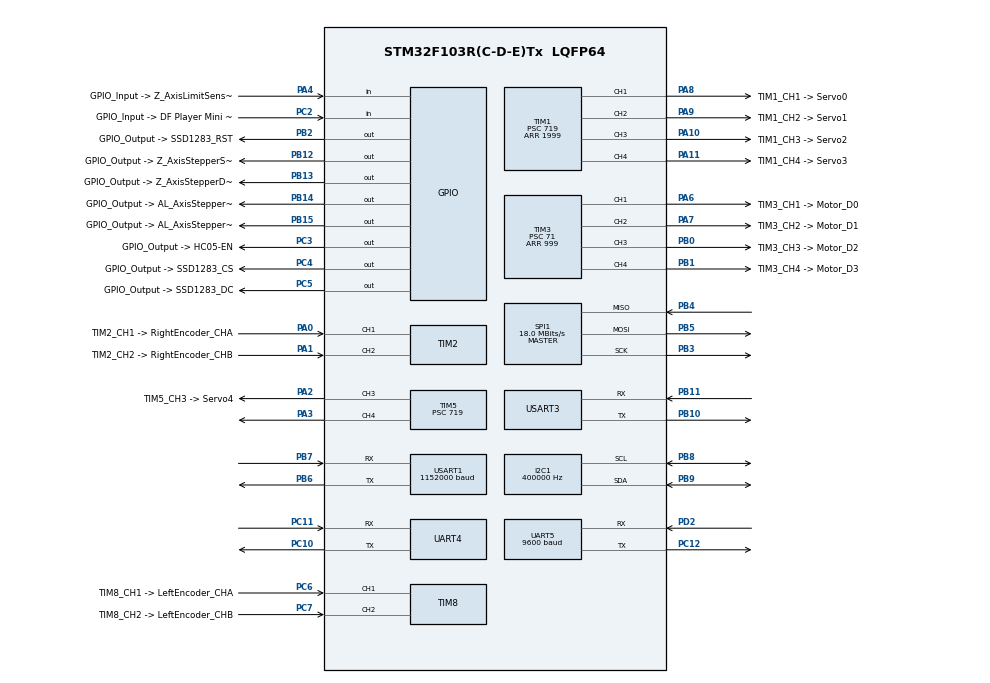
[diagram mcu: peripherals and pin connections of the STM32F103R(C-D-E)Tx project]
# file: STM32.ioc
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I2C1.ClockSpeed=400000
I2C1.I2C_Mode=I2C_Fast
I2C1.NoStretchMode=I2C_NOSTRETCH_DISABLE
Mcu.Family=STM32F1
Mcu.Name=STM32F103R(C-D-E)Tx
Mcu.Package=LQFP64
NVIC.PriorityGroup=NVIC_PRIORITYGROUP_4
NVIC.TIM4_IRQn=true\:6\:0\:true\:false\:true\:true\:true
NVIC.TIM6_IRQn=true\:4\:0\:true\:false\:true\:true\:true
NVIC.TIM7_IRQn=true\:3\:0\:true\:false\:true\:true\:true
NVIC.UART4_IRQn=true\:2\:0\:true\:false\:true\:true\:true
NVIC.USART1_IRQn=true\:1\:0\:true\:false\:true\:true\:true
NVIC.USART3_IRQn=true\:2\:0\:true\:false\:true\:true\:true
PA0-WKUP.GPIO_Label=TIM2_CH1 -> RightEncoder_CHA
PA0-WKUP.Signal=S_TIM2_CH1_ETR
PA1.GPIO_Label=TIM2_CH2 -> RightEncoder_CHB
PA1.Signal=S_TIM2_CH2
PA10.GPIO_Label=TIM1_CH3 -> Servo2
PA10.Signal=S_TIM1_CH3
PA11.GPIO_Label=TIM1_CH4 -> Servo3
PA11.Signal=S_TIM1_CH4
PA13.Mode=Serial_Wire
PA13.Signal=SYS_JTMS-SWDIO
PA14.Mode=Serial_Wire
PA14.Signal=SYS_JTCK-SWCLK
PA2.GPIO_Label=TIM5_CH3 -> Servo4
PA2.Signal=S_TIM5_CH3
PA3.Signal=S_TIM5_CH4
PA4.GPIO_Label=GPIO_Input -> Z_AxisLimitSensor
PA4.GPIO_PuPd=GPIO_PULLUP
PA4.Signal=GPIO_Input
PA6.GPIO_Label=TIM3_CH1 -> Motor_D0
PA6.Signal=S_TIM3_CH1
PA7.GPIO_Label=TIM3_CH2 -> Motor_D1
PA7.Signal=S_TIM3_CH2
PA8.GPIO_Label=TIM1_CH1 -> Servo0
PA8.Signal=S_TIM1_CH1
PA9.GPIO_Label=TIM1_CH2 -> Servo1
PA9.Signal=S_TIM1_CH2
PB0.GPIO_Label=TIM3_CH3 -> Motor_D2
PB0.Signal=S_TIM3_CH3
PB1.GPIO_Label=TIM3_CH4 -> Motor_D3
PB1.Signal=S_TIM3_CH4
PB10.Mode=Asynchronous
PB10.Signal=USART3_TX
PB11.Mode=Asynchronous
PB11.Signal=USART3_RX
PB12.GPIO_Label=GPIO_Output -> Z_AxisStepperSTEP
PB12.Signal=GPIO_Output
PB13.GPIO_Label=GPIO_Output -> Z_AxisStepperDIR
PB13.Signal=GPIO_Output
PB14.GPIO_Label=GPIO_Output -> AL_AxisStepperSTEP
PB14.Signal=GPIO_Output
PB15.GPIO_Label=GPIO_Output -> AL_AxisStepperDIR
PB15.Signal=GPIO_Output
PB2.GPIO_Label=GPIO_Output -> SSD1283_RST
PB2.Signal=GPIO_Output
PB3.Mode=Full_Duplex_Master
PB3.Signal=SPI1_SCK
PB4.Mode=Full_Duplex_Master
PB4.Signal=SPI1_MISO
PB5.Mode=Full_Duplex_Master
PB5.Signal=SPI1_MOSI
PB6.Mode=Asynchronous
PB6.Signal=USART1_TX
PB7.Mode=Asynchronous
PB7.Signal=USART1_RX
PB8.Mode=I2C
PB8.Signal=I2C1_SCL
PB9.Mode=I2C
PB9.Signal=I2C1_SDA
PC10.Mode=Asynchronous
PC10.Signal=UART4_TX
PC11.Mode=Asynchronous
PC11.Signal=UART4_RX
PC12.Mode=Asynchronous
PC12.Signal=UART5_TX
PC2.GPIO_Label=GPIO_Input -> DF Player Mini Busy
PC2.Signal=GPIO_Input
PC3.GPIO_Label=GPIO_Output -> HC05-EN
PC3.Signal=GPIO_Output
PC4.GPIO_Label=GPIO_Output -> SSD1283_CS
PC4.Signal=GPIO_Output
PC5.GPIO_Label=GPIO_Output -> SSD1283_DC
PC5.Signal=GPIO_Output
PC6.GPIO_Label=TIM8_CH1 -> LeftEncoder_CHA
PC6.Signal=S_TIM8_CH1
PC7.GPIO_Label=TIM8_CH2 -> LeftEncoder_CHB
PC7.Signal=S_TIM8_CH2
PD0-OSC_IN.Mode=HSE-External-Oscillator
PD0-OSC_IN.Signal=RCC_OSC_IN
PD1-OSC_OUT.Mode=HSE-External-Oscillator
PD1-OSC_OUT.Signal=RCC_OSC_OUT
PD2.Mode=Asynchronous
PD2.Signal=UART5_RX
ProjectManager.HeapSize=0x200
ProjectManager.StackSize=0x400
ProjectManager.TargetToolchain=STM32CubeIDE
RCC.AHBFreq_Value=72000000
RCC.APB1CLKDivider=RCC_HCLK_DIV2
RCC.APB1Freq_Value=36000000
RCC.APB1TimFreq_Value=72000000
RCC.APB2Freq_Value=72000000
RCC.APB2TimFreq_Value=72000000
RCC.HCLKFreq_Value=72000000
RCC.PLLMUL=RCC_PLL_MUL9
RCC.PLLSourceVirtual=RCC_PLLSOURCE_HSE
RCC.SYSCLKFreq_VALUE=72000000
RCC.SYSCLKSource=RCC_SYSCLKSOURCE_PLLCLK
RCC.USBFreq_Value=72000000
SH.S_TIM1_CH1.0=TIM1_CH1,PWM Generation1 CH1
SH.S_TIM1_CH2.0=TIM1_CH2,PWM Generation2 CH2
SH.S_TIM1_CH3.0=TIM1_CH3,PWM Generation3 CH3
SH.S_TIM1_CH4.0=TIM1_CH4,PWM Generation4 CH4
SH.S_TIM2_CH1_ETR.0=TIM2_CH1,Encoder_Interface
SH.S_TIM2_CH2.0=TIM2_CH2,Encoder_Interface
SH.S_TIM3_CH1.0=TIM3_CH1,PWM Generation1 CH1
SH.S_TIM3_CH2.0=TIM3_CH2,PWM Generation2 CH2
SH.S_TIM3_CH3.0=TIM3_CH3,PWM Generation3 CH3
SH.S_TIM3_CH4.0=TIM3_CH4,PWM Generation4 CH4
SH.S_TIM5_CH3.0=TIM5_CH3,PWM Generation3 CH3
SH.S_TIM5_CH4.0=TIM5_CH4,PWM Generation4 CH4
SH.S_TIM8_CH1.0=TIM8_CH1,Encoder_Interface
SH.S_TIM8_CH2.0=TIM8_CH2,Encoder_Interface
SPI1.BaudRatePrescaler=SPI_BAUDRATEPRESCALER_4
SPI1.CLKPhase=SPI_PHASE_2EDGE
SPI1.CLKPolarity=SPI_POLARITY_HIGH
SPI1.CRCCalculation=SPI_CRCCALCULATION_DISABLE
SPI1.CalculateBaudRate=18.0 MBits/s
SPI1.Direction=SPI_DIRECTION_2LINES
SPI1.Mode=SPI_MODE_MASTER
SPI1.VirtualType=VM_MASTER
TIM1.Channel-PWM\ Generation1\ CH1=TIM_CHANNEL_1
TIM1.Channel-PWM\ Generation2\ CH2=TIM_CHANNEL_2
TIM1.Channel-PWM\ Generation3\ CH3=TIM_CHANNEL_3
TIM1.Channel-PWM\ Generation4\ CH4=TIM_CHANNEL_4
TIM1.Period=1999
TIM1.Prescaler=719
TIM2.EncoderMode=TIM_ENCODERMODE_TI12
TIM3.Channel-PWM\ Generation1\ CH1=TIM_CHANNEL_1
TIM3.Channel-PWM\ Generation2\ CH2=TIM_CHANNEL_2
TIM3.Channel-PWM\ Generation3\ CH3=TIM_CHANNEL_3
TIM3.Channel-PWM\ Generation4\ CH4=TIM_CHANNEL_4
TIM3.Period=999
TIM3.Prescaler=71
TIM4.AutoReloadPreload=TIM_AUTORELOAD_PRELOAD_ENABLE
TIM4.Period=999
TIM4.Prescaler=2399
TIM5.Channel-PWM\ Generation3\ CH3=TIM_CHANNEL_3
TIM5.Channel-PWM\ Generation4\ CH4=TIM_CHANNEL_4
TIM5.Period=1999
TIM5.Prescaler=719
TIM6.Period=499
TIM6.Prescaler=71
TIM7.Period=999
TIM7.Prescaler=719
TIM8.EncoderMode=TIM_ENCODERMODE_TI12
UART4.VirtualMode=Asynchronous
UART5.BaudRate=9600
UART5.VirtualMode=Asynchronous
USART1.BaudRate=1152000
USART1.VirtualMode=VM_ASYNC
USART3.VirtualMode=VM_ASYNC
VP_TIM4_VS_ClockSourceINT.Mode=Internal
VP_TIM6_VS_ClockSourceINT.Mode=Enable_Timer
VP_TIM7_VS_ClockSourceINT.Mode=Enable_Timer
board=custom

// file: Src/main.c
/* USER CODE BEGIN Header */
/**
  ******************************************************************************
  * @file           : main.c
  * @brief          : Main program body
  ******************************************************************************
  * @attention
  *
  * <h2><center>&copy; Copyright (c) 2021 STMicroelectronics.
  * All rights reserved.</center></h2>
  *
  * This software component is licensed by ST under BSD 3-Clause license,
  * the "License"; You may not use this file except in compliance with the
  * License. You may obtain a copy of the License at:
  *                        opensource.org/licenses/BSD-3-Clause
  *
  ******************************************************************************
  */
/* USER CODE END Header */
#include "main.h"

/* USER CODE BEGIN Includes */
#include "App.h"
#include "RobotConfigs.h"
/* USER CODE END Includes */

I2C_HandleTypeDef hi2c1;

void SystemClock_Config(void);
static void MX_GPIO_Init(void);
static void MX_I2C1_Init(void);
static void MX_TIM1_Init(void);
static void MX_TIM2_Init(void);
static void MX_TIM3_Init(void);
static void MX_TIM7_Init(void);
static void MX_UART4_Init(void);
static void MX_UART5_Init(void);
static void MX_USART1_UART_Init(void);
static void MX_USART3_UART_Init(void);
static void MX_SPI1_Init(void);
static void MX_TIM8_Init(void);
static void MX_TIM6_Init(void);
static void MX_TIM5_Init(void);
static void MX_TIM4_Init(void);

int main(void)
{

  /* MCU Configuration--------------------------------------------------------*/

  /* Reset of all peripherals, Initializes the Flash interface and the Systick. */
  HAL_Init();

  /* Configure the system clock */
  SystemClock_Config();

  /* Initialize all configured peripherals */
  MX_GPIO_Init();
  MX_I2C1_Init();
  MX_TIM1_Init();
  MX_TIM2_Init();
  MX_TIM3_Init();
  MX_TIM7_Init();
  MX_UART4_Init();
  MX_UART5_Init();
  MX_USART1_UART_Init();
  MX_USART3_UART_Init();
  MX_SPI1_Init();
  MX_TIM8_Init();
  MX_TIM6_Init();
  MX_TIM5_Init();
  MX_TIM4_Init();
  /* USER CODE BEGIN 2 */

  //Run Application
  App();

  /* USER CODE END 2 */

  /* Infinite loop */
  while (1)
  {

  }
}

void SystemClock_Config(void)
{
  LL_FLASH_SetLatency(LL_FLASH_LATENCY_2);
  while(LL_FLASH_GetLatency()!= LL_FLASH_LATENCY_2)
  {
  }
  LL_RCC_HSE_Enable();

   /* Wait till HSE is ready */
  while(LL_RCC_HSE_IsReady() != 1)
  {

  }
  LL_RCC_PLL_ConfigDomain_SYS(LL_RCC_PLLSOURCE_HSE_DIV_1, LL_RCC_PLL_MUL_9);
  LL_RCC_PLL_Enable();

   /* Wait till PLL is ready */
  while(LL_RCC_PLL_IsReady() != 1)
  {

  }
  LL_RCC_SetAHBPrescaler(LL_RCC_SYSCLK_DIV_1);
  LL_RCC_SetAPB1Prescaler(LL_RCC_APB1_DIV_2);
  LL_RCC_SetAPB2Prescaler(LL_RCC_APB2_DIV_1);
  LL_RCC_SetSysClkSource(LL_RCC_SYS_CLKSOURCE_PLL);

   /* Wait till System clock is ready */
  while(LL_RCC_GetSysClkSource() != LL_RCC_SYS_CLKSOURCE_STATUS_PLL)
  {

  }
  LL_SetSystemCoreClock(72000000);

   /* Update the time base */
  if (HAL_InitTick (TICK_INT_PRIORITY) != HAL_OK)
  {
    Error_Handler();
  }
}

static void MX_I2C1_Init(void)
{

  /* USER CODE BEGIN I2C1_Init 0 */
	/*
	LL_GPIO_InitTypeDef GPIO_InitStruct = {0};
	  GPIO_InitStruct.Pin = LL_GPIO_PIN_8;
	  GPIO_InitStruct.Mode = LL_GPIO_MODE_ALTERNATE;
	  GPIO_InitStruct.Speed = LL_GPIO_SPEED_FREQ_HIGH;
	  GPIO_InitStruct.OutputType = LL_GPIO_OUTPUT_PUSHPULL;
	  LL_GPIO_Init(GPIOB, &GPIO_InitStruct);
*/

  /* USER CODE END I2C1_Init 0 */

  hi2c1.Instance = I2C1;
  hi2c1.Init.ClockSpeed = 400000;
  hi2c1.Init.DutyCycle = I2C_DUTYCYCLE_2;
  hi2c1.Init.OwnAddress1 = 0;
  hi2c1.Init.AddressingMode = I2C_ADDRESSINGMODE_7BIT;
  hi2c1.Init.DualAddressMode = I2C_DUALADDRESS_DISABLE;
  hi2c1.Init.OwnAddress2 = 0;
  hi2c1.Init.GeneralCallMode = I2C_GENERALCALL_DISABLE;
  hi2c1.Init.NoStretchMode = I2C_NOSTRETCH_DISABLE;
  if (HAL_I2C_Init(&hi2c1) != HAL_OK)
  {
    Error_Handler();
  }

}

static void MX_SPI1_Init(void)
{

  LL_SPI_InitTypeDef SPI_InitStruct = {0};

  LL_GPIO_InitTypeDef GPIO_InitStruct = {0};

  /* Peripheral clock enable */
  LL_APB2_GRP1_EnableClock(LL_APB2_GRP1_PERIPH_SPI1);

  LL_APB2_GRP1_EnableClock(LL_APB2_GRP1_PERIPH_GPIOB);
  /**SPI1 GPIO Configuration
  PB3   ------> SPI1_SCK
  PB4   ------> SPI1_MISO
  PB5   ------> SPI1_MOSI
  */
  GPIO_InitStruct.Pin = LL_GPIO_PIN_3|LL_GPIO_PIN_5;
  GPIO_InitStruct.Mode = LL_GPIO_MODE_ALTERNATE;
  GPIO_InitStruct.Speed = LL_GPIO_SPEED_FREQ_HIGH;
  GPIO_InitStruct.OutputType = LL_GPIO_OUTPUT_PUSHPULL;
  LL_GPIO_Init(GPIOB, &GPIO_InitStruct);

  GPIO_InitStruct.Pin = LL_GPIO_PIN_4;
  GPIO_InitStruct.Mode = LL_GPIO_MODE_FLOATING;
  LL_GPIO_Init(GPIOB, &GPIO_InitStruct);

  LL_GPIO_AF_EnableRemap_SPI1();

  /* SPI1 parameter configuration*/
  SPI_InitStruct.TransferDirection = LL_SPI_FULL_DUPLEX;
  SPI_InitStruct.Mode = LL_SPI_MODE_MASTER;
  SPI_InitStruct.DataWidth = LL_SPI_DATAWIDTH_8BIT;
  SPI_InitStruct.ClockPolarity = LL_SPI_POLARITY_HIGH;
  SPI_InitStruct.ClockPhase = LL_SPI_PHASE_2EDGE;
  SPI_InitStruct.NSS = LL_SPI_NSS_SOFT;
  SPI_InitStruct.BaudRate = LL_SPI_BAUDRATEPRESCALER_DIV4;
  SPI_InitStruct.BitOrder = LL_SPI_MSB_FIRST;
  SPI_InitStruct.CRCCalculation = LL_SPI_CRCCALCULATION_DISABLE;
  SPI_InitStruct.CRCPoly = 10;
  LL_SPI_Init(SPI1, &SPI_InitStruct);

}

static void MX_TIM1_Init(void)
{

  LL_TIM_InitTypeDef TIM_InitStruct = {0};
  LL_TIM_OC_InitTypeDef TIM_OC_InitStruct = {0};
  LL_TIM_BDTR_InitTypeDef TIM_BDTRInitStruct = {0};

  LL_GPIO_InitTypeDef GPIO_InitStruct = {0};

  /* Peripheral clock enable */
  LL_APB2_GRP1_EnableClock(LL_APB2_GRP1_PERIPH_TIM1);

  TIM_InitStruct.Prescaler = 719;
  TIM_InitStruct.CounterMode = LL_TIM_COUNTERMODE_UP;
  TIM_InitStruct.Autoreload = 1999;
  TIM_InitStruct.ClockDivision = LL_TIM_CLOCKDIVISION_DIV1;
  TIM_InitStruct.RepetitionCounter = 0;
  LL_TIM_Init(TIM1, &TIM_InitStruct);
  LL_TIM_DisableARRPreload(TIM1);
  LL_TIM_OC_EnablePreload(TIM1, LL_TIM_CHANNEL_CH1);
  TIM_OC_InitStruct.OCMode = LL_TIM_OCMODE_PWM1;
  TIM_OC_InitStruct.OCState = LL_TIM_OCSTATE_DISABLE;
  TIM_OC_InitStruct.OCNState = LL_TIM_OCSTATE_DISABLE;
  TIM_OC_InitStruct.CompareValue = 0;
  TIM_OC_InitStruct.OCPolarity = LL_TIM_OCPOLARITY_HIGH;
  TIM_OC_InitStruct.OCNPolarity = LL_TIM_OCPOLARITY_HIGH;
  TIM_OC_InitStruct.OCIdleState = LL_TIM_OCIDLESTATE_LOW;
  TIM_OC_InitStruct.OCNIdleState = LL_TIM_OCIDLESTATE_LOW;
  LL_TIM_OC_Init(TIM1, LL_TIM_CHANNEL_CH1, &TIM_OC_InitStruct);
  LL_TIM_OC_DisableFast(TIM1, LL_TIM_CHANNEL_CH1);
  LL_TIM_OC_EnablePreload(TIM1, LL_TIM_CHANNEL_CH2);
  LL_TIM_OC_Init(TIM1, LL_TIM_CHANNEL_CH2, &TIM_OC_InitStruct);
  LL_TIM_OC_DisableFast(TIM1, LL_TIM_CHANNEL_CH2);
  LL_TIM_OC_EnablePreload(TIM1, LL_TIM_CHANNEL_CH3);
  LL_TIM_OC_Init(TIM1, LL_TIM_CHANNEL_CH3, &TIM_OC_InitStruct);
  LL_TIM_OC_DisableFast(TIM1, LL_TIM_CHANNEL_CH3);
  LL_TIM_OC_EnablePreload(TIM1, LL_TIM_CHANNEL_CH4);
  LL_TIM_OC_Init(TIM1, LL_TIM_CHANNEL_CH4, &TIM_OC_InitStruct);
  LL_TIM_OC_DisableFast(TIM1, LL_TIM_CHANNEL_CH4);
  LL_TIM_SetTriggerOutput(TIM1, LL_TIM_TRGO_RESET);
  LL_TIM_DisableMasterSlaveMode(TIM1);
  TIM_BDTRInitStruct.OSSRState = LL_TIM_OSSR_DISABLE;
  TIM_BDTRInitStruct.OSSIState = LL_TIM_OSSI_DISABLE;
  TIM_BDTRInitStruct.LockLevel = LL_TIM_LOCKLEVEL_OFF;
  TIM_BDTRInitStruct.DeadTime = 0;
  TIM_BDTRInitStruct.BreakState = LL_TIM_BREAK_DISABLE;
  TIM_BDTRInitStruct.BreakPolarity = LL_TIM_BREAK_POLARITY_HIGH;
  TIM_BDTRInitStruct.AutomaticOutput = LL_TIM_AUTOMATICOUTPUT_DISABLE;
  LL_TIM_BDTR_Init(TIM1, &TIM_BDTRInitStruct);
  LL_APB2_GRP1_EnableClock(LL_APB2_GRP1_PERIPH_GPIOA);
  /**TIM1 GPIO Configuration
  PA8   ------> TIM1_CH1
  PA9   ------> TIM1_CH2
  PA10   ------> TIM1_CH3
  PA11   ------> TIM1_CH4
  */
  GPIO_InitStruct.Pin = TIM1_CH1____Servo0_Pin|TIM1_CH2____Servo1_Pin|TIM1_CH3____Servo2_Pin|TIM1_CH4____Servo3_Pin;
  GPIO_InitStruct.Mode = LL_GPIO_MODE_ALTERNATE;
  GPIO_InitStruct.Speed = LL_GPIO_SPEED_FREQ_LOW;
  GPIO_InitStruct.OutputType = LL_GPIO_OUTPUT_PUSHPULL;
  LL_GPIO_Init(GPIOA, &GPIO_InitStruct);

}

static void MX_TIM2_Init(void)
{

  LL_TIM_InitTypeDef TIM_InitStruct = {0};

  LL_GPIO_InitTypeDef GPIO_InitStruct = {0};

  /* Peripheral clock enable */
  LL_APB1_GRP1_EnableClock(LL_APB1_GRP1_PERIPH_TIM2);

  LL_APB2_GRP1_EnableClock(LL_APB2_GRP1_PERIPH_GPIOA);
  /**TIM2 GPIO Configuration
  PA0-WKUP   ------> TIM2_CH1
  PA1   ------> TIM2_CH2
  */
  GPIO_InitStruct.Pin = TIM2_CH1____RightEncoder_CHA_Pin|TIM2_CH2____RightEncoder_CHB_Pin;
  GPIO_InitStruct.Mode = LL_GPIO_MODE_FLOATING;
  LL_GPIO_Init(GPIOA, &GPIO_InitStruct);

  LL_TIM_SetEncoderMode(TIM2, LL_TIM_ENCODERMODE_X4_TI12);
  LL_TIM_IC_SetActiveInput(TIM2, LL_TIM_CHANNEL_CH1, LL_TIM_ACTIVEINPUT_DIRECTTI);
  LL_TIM_IC_SetPrescaler(TIM2, LL_TIM_CHANNEL_CH1, LL_TIM_ICPSC_DIV1);
  LL_TIM_IC_SetFilter(TIM2, LL_TIM_CHANNEL_CH1, LL_TIM_IC_FILTER_FDIV1);
  LL_TIM_IC_SetPolarity(TIM2, LL_TIM_CHANNEL_CH1, LL_TIM_IC_POLARITY_RISING);
  LL_TIM_IC_SetActiveInput(TIM2, LL_TIM_CHANNEL_CH2, LL_TIM_ACTIVEINPUT_DIRECTTI);
  LL_TIM_IC_SetPrescaler(TIM2, LL_TIM_CHANNEL_CH2, LL_TIM_ICPSC_DIV1);
  LL_TIM_IC_SetFilter(TIM2, LL_TIM_CHANNEL_CH2, LL_TIM_IC_FILTER_FDIV1);
  LL_TIM_IC_SetPolarity(TIM2, LL_TIM_CHANNEL_CH2, LL_TIM_IC_POLARITY_RISING);
  TIM_InitStruct.Prescaler = 0;
  TIM_InitStruct.CounterMode = LL_TIM_COUNTERMODE_UP;
  TIM_InitStruct.Autoreload = 65535;
  TIM_InitStruct.ClockDivision = LL_TIM_CLOCKDIVISION_DIV1;
  LL_TIM_Init(TIM2, &TIM_InitStruct);
  LL_TIM_DisableARRPreload(TIM2);
  LL_TIM_SetTriggerOutput(TIM2, LL_TIM_TRGO_RESET);
  LL_TIM_DisableMasterSlaveMode(TIM2);

}

static void MX_TIM3_Init(void)
{

  LL_TIM_InitTypeDef TIM_InitStruct = {0};
  LL_TIM_OC_InitTypeDef TIM_OC_InitStruct = {0};

  LL_GPIO_InitTypeDef GPIO_InitStruct = {0};

  /* Peripheral clock enable */
  LL_APB1_GRP1_EnableClock(LL_APB1_GRP1_PERIPH_TIM3);

  TIM_InitStruct.Prescaler = 71;
  TIM_InitStruct.CounterMode = LL_TIM_COUNTERMODE_UP;
  TIM_InitStruct.Autoreload = 999;
  TIM_InitStruct.ClockDivision = LL_TIM_CLOCKDIVISION_DIV1;
  LL_TIM_Init(TIM3, &TIM_InitStruct);
  LL_TIM_DisableARRPreload(TIM3);
  LL_TIM_OC_EnablePreload(TIM3, LL_TIM_CHANNEL_CH1);
  TIM_OC_InitStruct.OCMode = LL_TIM_OCMODE_PWM1;
  TIM_OC_InitStruct.OCState = LL_TIM_OCSTATE_DISABLE;
  TIM_OC_InitStruct.OCNState = LL_TIM_OCSTATE_DISABLE;
  TIM_OC_InitStruct.CompareValue = 0;
  TIM_OC_InitStruct.OCPolarity = LL_TIM_OCPOLARITY_HIGH;
  LL_TIM_OC_Init(TIM3, LL_TIM_CHANNEL_CH1, &TIM_OC_InitStruct);
  LL_TIM_OC_DisableFast(TIM3, LL_TIM_CHANNEL_CH1);
  LL_TIM_OC_EnablePreload(TIM3, LL_TIM_CHANNEL_CH2);
  LL_TIM_OC_Init(TIM3, LL_TIM_CHANNEL_CH2, &TIM_OC_InitStruct);
  LL_TIM_OC_DisableFast(TIM3, LL_TIM_CHANNEL_CH2);
  LL_TIM_OC_EnablePreload(TIM3, LL_TIM_CHANNEL_CH3);
  LL_TIM_OC_Init(TIM3, LL_TIM_CHANNEL_CH3, &TIM_OC_InitStruct);
  LL_TIM_OC_DisableFast(TIM3, LL_TIM_CHANNEL_CH3);
  LL_TIM_OC_EnablePreload(TIM3, LL_TIM_CHANNEL_CH4);
  LL_TIM_OC_Init(TIM3, LL_TIM_CHANNEL_CH4, &TIM_OC_InitStruct);
  LL_TIM_OC_DisableFast(TIM3, LL_TIM_CHANNEL_CH4);
  LL_TIM_SetTriggerOutput(TIM3, LL_TIM_TRGO_RESET);
  LL_TIM_DisableMasterSlaveMode(TIM3);
  LL_APB2_GRP1_EnableClock(LL_APB2_GRP1_PERIPH_GPIOA);
  LL_APB2_GRP1_EnableClock(LL_APB2_GRP1_PERIPH_GPIOB);
  /**TIM3 GPIO Configuration
  PA6   ------> TIM3_CH1
  PA7   ------> TIM3_CH2
  PB0   ------> TIM3_CH3
  PB1   ------> TIM3_CH4
  */
  GPIO_InitStruct.Pin = TIM3_CH1____Motor_D0_Pin|TIM3_CH2____Motor_D1_Pin;
  GPIO_InitStruct.Mode = LL_GPIO_MODE_ALTERNATE;
  GPIO_InitStruct.Speed = LL_GPIO_SPEED_FREQ_LOW;
  GPIO_InitStruct.OutputType = LL_GPIO_OUTPUT_PUSHPULL;
  LL_GPIO_Init(GPIOA, &GPIO_InitStruct);

  GPIO_InitStruct.Pin = TIM3_CH3____Motor_D2_Pin|TIM3_CH4____Motor_D3_Pin;
  GPIO_InitStruct.Mode = LL_GPIO_MODE_ALTERNATE;
  GPIO_InitStruct.Speed = LL_GPIO_SPEED_FREQ_LOW;
  GPIO_InitStruct.OutputType = LL_GPIO_OUTPUT_PUSHPULL;
  LL_GPIO_Init(GPIOB, &GPIO_InitStruct);

}

static void MX_TIM4_Init(void)
{

  LL_TIM_InitTypeDef TIM_InitStruct = {0};

  /* Peripheral clock enable */
  LL_APB1_GRP1_EnableClock(LL_APB1_GRP1_PERIPH_TIM4);

  /* TIM4 interrupt Init */
  NVIC_SetPriority(TIM4_IRQn, NVIC_EncodePriority(NVIC_GetPriorityGrouping(),6, 0));
  NVIC_EnableIRQ(TIM4_IRQn);

  TIM_InitStruct.Prescaler = 2399;
  TIM_InitStruct.CounterMode = LL_TIM_COUNTERMODE_UP;
  TIM_InitStruct.Autoreload = 999;
  TIM_InitStruct.ClockDivision = LL_TIM_CLOCKDIVISION_DIV1;
  LL_TIM_Init(TIM4, &TIM_InitStruct);
  LL_TIM_EnableARRPreload(TIM4);
  LL_TIM_SetClockSource(TIM4, LL_TIM_CLOCKSOURCE_INTERNAL);
  LL_TIM_SetTriggerOutput(TIM4, LL_TIM_TRGO_RESET);
  LL_TIM_DisableMasterSlaveMode(TIM4);
  /* USER CODE BEGIN TIM4_Init 2 */
  LL_TIM_EnableIT_UPDATE(TIM4);
  LL_TIM_EnableCounter(TIM4);
  /* USER CODE END TIM4_Init 2 */

}

static void MX_TIM5_Init(void)
{

  LL_TIM_InitTypeDef TIM_InitStruct = {0};
  LL_TIM_OC_InitTypeDef TIM_OC_InitStruct = {0};

  LL_GPIO_InitTypeDef GPIO_InitStruct = {0};

  /* Peripheral clock enable */
  LL_APB1_GRP1_EnableClock(LL_APB1_GRP1_PERIPH_TIM5);

  TIM_InitStruct.Prescaler = 719;
  TIM_InitStruct.CounterMode = LL_TIM_COUNTERMODE_UP;
  TIM_InitStruct.Autoreload = 1999;
  TIM_InitStruct.ClockDivision = LL_TIM_CLOCKDIVISION_DIV1;
  LL_TIM_Init(TIM5, &TIM_InitStruct);
  LL_TIM_DisableARRPreload(TIM5);
  LL_TIM_OC_EnablePreload(TIM5, LL_TIM_CHANNEL_CH3);
  TIM_OC_InitStruct.OCMode = LL_TIM_OCMODE_PWM1;
  TIM_OC_InitStruct.OCState = LL_TIM_OCSTATE_DISABLE;
  TIM_OC_InitStruct.OCNState = LL_TIM_OCSTATE_DISABLE;
  TIM_OC_InitStruct.CompareValue = 0;
  TIM_OC_InitStruct.OCPolarity = LL_TIM_OCPOLARITY_HIGH;
  LL_TIM_OC_Init(TIM5, LL_TIM_CHANNEL_CH3, &TIM_OC_InitStruct);
  LL_TIM_OC_DisableFast(TIM5, LL_TIM_CHANNEL_CH3);
  LL_TIM_OC_EnablePreload(TIM5, LL_TIM_CHANNEL_CH4);
  LL_TIM_OC_Init(TIM5, LL_TIM_CHANNEL_CH4, &TIM_OC_InitStruct);
  LL_TIM_OC_DisableFast(TIM5, LL_TIM_CHANNEL_CH4);
  LL_TIM_SetTriggerOutput(TIM5, LL_TIM_TRGO_RESET);
  LL_TIM_DisableMasterSlaveMode(TIM5);
  LL_APB2_GRP1_EnableClock(LL_APB2_GRP1_PERIPH_GPIOA);
  /**TIM5 GPIO Configuration
  PA2   ------> TIM5_CH3
  PA3   ------> TIM5_CH4
  */
  GPIO_InitStruct.Pin = TIM5_CH3____Servo4_Pin|LL_GPIO_PIN_3;
  GPIO_InitStruct.Mode = LL_GPIO_MODE_ALTERNATE;
  GPIO_InitStruct.Speed = LL_GPIO_SPEED_FREQ_LOW;
  GPIO_InitStruct.OutputType = LL_GPIO_OUTPUT_PUSHPULL;
  LL_GPIO_Init(GPIOA, &GPIO_InitStruct);

}

static void MX_TIM6_Init(void)
{

  /* USER CODE BEGIN TIM6_Init 0 */
#if(ArmType == LiftingPlatform)
  /* USER CODE END TIM6_Init 0 */

  LL_TIM_InitTypeDef TIM_InitStruct = {0};

  /* Peripheral clock enable */
  LL_APB1_GRP1_EnableClock(LL_APB1_GRP1_PERIPH_TIM6);

  /* TIM6 interrupt Init */
  NVIC_SetPriority(TIM6_IRQn, NVIC_EncodePriority(NVIC_GetPriorityGrouping(),4, 0));
  NVIC_EnableIRQ(TIM6_IRQn);

  TIM_InitStruct.Prescaler = 71;
  TIM_InitStruct.CounterMode = LL_TIM_COUNTERMODE_UP;
  TIM_InitStruct.Autoreload = 499;
  LL_TIM_Init(TIM6, &TIM_InitStruct);
  LL_TIM_DisableARRPreload(TIM6);
  LL_TIM_SetTriggerOutput(TIM6, LL_TIM_TRGO_RESET);
  LL_TIM_DisableMasterSlaveMode(TIM6);
  /* USER CODE BEGIN TIM6_Init 2 */
  LL_TIM_EnableIT_UPDATE(TIM6);
  LL_TIM_EnableCounter(TIM6);
#endif //#if(ArmType == LiftingPlatform)
  /* USER CODE END TIM6_Init 2 */

}

static void MX_TIM7_Init(void)
{

  LL_TIM_InitTypeDef TIM_InitStruct = {0};

  /* Peripheral clock enable */
  LL_APB1_GRP1_EnableClock(LL_APB1_GRP1_PERIPH_TIM7);

  /* TIM7 interrupt Init */
  NVIC_SetPriority(TIM7_IRQn, NVIC_EncodePriority(NVIC_GetPriorityGrouping(),3, 0));
  NVIC_EnableIRQ(TIM7_IRQn);

  TIM_InitStruct.Prescaler = 719;
  TIM_InitStruct.CounterMode = LL_TIM_COUNTERMODE_UP;
  TIM_InitStruct.Autoreload = 999;
  LL_TIM_Init(TIM7, &TIM_InitStruct);
  LL_TIM_DisableARRPreload(TIM7);
  LL_TIM_SetTriggerOutput(TIM7, LL_TIM_TRGO_RESET);
  LL_TIM_DisableMasterSlaveMode(TIM7);
  /* USER CODE BEGIN TIM7_Init 2 */
  LL_TIM_EnableIT_UPDATE(TIM7);
  LL_TIM_EnableCounter(TIM7);
  /* USER CODE END TIM7_Init 2 */

}

static void MX_TIM8_Init(void)
{

  LL_TIM_InitTypeDef TIM_InitStruct = {0};

  LL_GPIO_InitTypeDef GPIO_InitStruct = {0};

  /* Peripheral clock enable */
  LL_APB2_GRP1_EnableClock(LL_APB2_GRP1_PERIPH_TIM8);

  LL_APB2_GRP1_EnableClock(LL_APB2_GRP1_PERIPH_GPIOC);
  /**TIM8 GPIO Configuration
  PC6   ------> TIM8_CH1
  PC7   ------> TIM8_CH2
  */
  GPIO_InitStruct.Pin = TIM8_CH1____LeftEncoder_CHA_Pin|TIM8_CH2____LeftEncoder_CHB_Pin;
  GPIO_InitStruct.Mode = LL_GPIO_MODE_FLOATING;
  LL_GPIO_Init(GPIOC, &GPIO_InitStruct);

  LL_TIM_SetEncoderMode(TIM8, LL_TIM_ENCODERMODE_X4_TI12);
  LL_TIM_IC_SetActiveInput(TIM8, LL_TIM_CHANNEL_CH1, LL_TIM_ACTIVEINPUT_DIRECTTI);
  LL_TIM_IC_SetPrescaler(TIM8, LL_TIM_CHANNEL_CH1, LL_TIM_ICPSC_DIV1);
  LL_TIM_IC_SetFilter(TIM8, LL_TIM_CHANNEL_CH1, LL_TIM_IC_FILTER_FDIV1);
  LL_TIM_IC_SetPolarity(TIM8, LL_TIM_CHANNEL_CH1, LL_TIM_IC_POLARITY_RISING);
  LL_TIM_IC_SetActiveInput(TIM8, LL_TIM_CHANNEL_CH2, LL_TIM_ACTIVEINPUT_DIRECTTI);
  LL_TIM_IC_SetPrescaler(TIM8, LL_TIM_CHANNEL_CH2, LL_TIM_ICPSC_DIV1);
  LL_TIM_IC_SetFilter(TIM8, LL_TIM_CHANNEL_CH2, LL_TIM_IC_FILTER_FDIV1);
  LL_TIM_IC_SetPolarity(TIM8, LL_TIM_CHANNEL_CH2, LL_TIM_IC_POLARITY_RISING);
  TIM_InitStruct.Prescaler = 0;
  TIM_InitStruct.CounterMode = LL_TIM_COUNTERMODE_UP;
  TIM_InitStruct.Autoreload = 65535;
  TIM_InitStruct.ClockDivision = LL_TIM_CLOCKDIVISION_DIV1;
  TIM_InitStruct.RepetitionCounter = 0;
  LL_TIM_Init(TIM8, &TIM_InitStruct);
  LL_TIM_DisableARRPreload(TIM8);
  LL_TIM_SetTriggerOutput(TIM8, LL_TIM_TRGO_RESET);
  LL_TIM_DisableMasterSlaveMode(TIM8);

}

static void MX_UART4_Init(void)
{

  LL_USART_InitTypeDef USART_InitStruct = {0};

  LL_GPIO_InitTypeDef GPIO_InitStruct = {0};

  /* Peripheral clock enable */
  LL_APB1_GRP1_EnableClock(LL_APB1_GRP1_PERIPH_UART4);

  LL_APB2_GRP1_EnableClock(LL_APB2_GRP1_PERIPH_GPIOC);
  /**UART4 GPIO Configuration
  PC10   ------> UART4_TX
  PC11   ------> UART4_RX
  */
  GPIO_InitStruct.Pin = LL_GPIO_PIN_10;
  GPIO_InitStruct.Mode = LL_GPIO_MODE_ALTERNATE;
  GPIO_InitStruct.Speed = LL_GPIO_SPEED_FREQ_HIGH;
  GPIO_InitStruct.OutputType = LL_GPIO_OUTPUT_PUSHPULL;
  LL_GPIO_Init(GPIOC, &GPIO_InitStruct);

  GPIO_InitStruct.Pin = LL_GPIO_PIN_11;
  GPIO_InitStruct.Mode = LL_GPIO_MODE_FLOATING;
  LL_GPIO_Init(GPIOC, &GPIO_InitStruct);

  /* UART4 interrupt Init */
  NVIC_SetPriority(UART4_IRQn, NVIC_EncodePriority(NVIC_GetPriorityGrouping(),2, 0));
  NVIC_EnableIRQ(UART4_IRQn);

  USART_InitStruct.BaudRate = 115200;
  USART_InitStruct.DataWidth = LL_USART_DATAWIDTH_8B;
  USART_InitStruct.StopBits = LL_USART_STOPBITS_1;
  USART_InitStruct.Parity = LL_USART_PARITY_NONE;
  USART_InitStruct.TransferDirection = LL_USART_DIRECTION_TX_RX;
  USART_InitStruct.HardwareFlowControl = LL_USART_HWCONTROL_NONE;
  LL_USART_Init(UART4, &USART_InitStruct);
  LL_USART_ConfigAsyncMode(UART4);
  LL_USART_Enable(UART4);
  /* USER CODE BEGIN UART4_Init 2 */
  LL_USART_ClearFlag_RXNE(UART4);
  LL_USART_EnableIT_RXNE(UART4);
  /* USER CODE END UART4_Init 2 */

}

static void MX_UART5_Init(void)
{

  LL_USART_InitTypeDef USART_InitStruct = {0};

  LL_GPIO_InitTypeDef GPIO_InitStruct = {0};

  /* Peripheral clock enable */
  LL_APB1_GRP1_EnableClock(LL_APB1_GRP1_PERIPH_UART5);

  LL_APB2_GRP1_EnableClock(LL_APB2_GRP1_PERIPH_GPIOC);
  LL_APB2_GRP1_EnableClock(LL_APB2_GRP1_PERIPH_GPIOD);
  /**UART5 GPIO Configuration
  PC12   ------> UART5_TX
  PD2   ------> UART5_RX
  */
  GPIO_InitStruct.Pin = LL_GPIO_PIN_12;
  GPIO_InitStruct.Mode = LL_GPIO_MODE_ALTERNATE;
  GPIO_InitStruct.Speed = LL_GPIO_SPEED_FREQ_HIGH;
  GPIO_InitStruct.OutputType = LL_GPIO_OUTPUT_PUSHPULL;
  LL_GPIO_Init(GPIOC, &GPIO_InitStruct);

  GPIO_InitStruct.Pin = LL_GPIO_PIN_2;
  GPIO_InitStruct.Mode = LL_GPIO_MODE_FLOATING;
  LL_GPIO_Init(GPIOD, &GPIO_InitStruct);

  USART_InitStruct.BaudRate = 9600;
  USART_InitStruct.DataWidth = LL_USART_DATAWIDTH_8B;
  USART_InitStruct.StopBits = LL_USART_STOPBITS_1;
  USART_InitStruct.Parity = LL_USART_PARITY_NONE;
  USART_InitStruct.TransferDirection = LL_USART_DIRECTION_TX_RX;
  USART_InitStruct.HardwareFlowControl = LL_USART_HWCONTROL_NONE;
  LL_USART_Init(UART5, &USART_InitStruct);
  LL_USART_ConfigAsyncMode(UART5);
  LL_USART_Enable(UART5);

}

static void MX_USART1_UART_Init(void)
{

  /* USER CODE BEGIN USART1_Init 0 */
#ifdef DEBUG
  /* USER CODE END USART1_Init 0 */

  LL_USART_InitTypeDef USART_InitStruct = {0};

  LL_GPIO_InitTypeDef GPIO_InitStruct = {0};

  /* Peripheral clock enable */
  LL_APB2_GRP1_EnableClock(LL_APB2_GRP1_PERIPH_USART1);

  LL_APB2_GRP1_EnableClock(LL_APB2_GRP1_PERIPH_GPIOB);
  /**USART1 GPIO Configuration
  PB6   ------> USART1_TX
  PB7   ------> USART1_RX
  */
  GPIO_InitStruct.Pin = LL_GPIO_PIN_6;
  GPIO_InitStruct.Mode = LL_GPIO_MODE_ALTERNATE;
  GPIO_InitStruct.Speed = LL_GPIO_SPEED_FREQ_HIGH;
  GPIO_InitStruct.OutputType = LL_GPIO_OUTPUT_PUSHPULL;
  LL_GPIO_Init(GPIOB, &GPIO_InitStruct);

  GPIO_InitStruct.Pin = LL_GPIO_PIN_7;
  GPIO_InitStruct.Mode = LL_GPIO_MODE_FLOATING;
  LL_GPIO_Init(GPIOB, &GPIO_InitStruct);

  LL_GPIO_AF_EnableRemap_USART1();

  /* USART1 interrupt Init */
  NVIC_SetPriority(USART1_IRQn, NVIC_EncodePriority(NVIC_GetPriorityGrouping(),1, 0));
  NVIC_EnableIRQ(USART1_IRQn);

  USART_InitStruct.BaudRate = 1152000;
  USART_InitStruct.DataWidth = LL_USART_DATAWIDTH_8B;
  USART_InitStruct.StopBits = LL_USART_STOPBITS_1;
  USART_InitStruct.Parity = LL_USART_PARITY_NONE;
  USART_InitStruct.TransferDirection = LL_USART_DIRECTION_TX_RX;
  USART_InitStruct.HardwareFlowControl = LL_USART_HWCONTROL_NONE;
  USART_InitStruct.OverSampling = LL_USART_OVERSAMPLING_16;
  LL_USART_Init(USART1, &USART_InitStruct);
  LL_USART_ConfigAsyncMode(USART1);
  LL_USART_Enable(USART1);
  /* USER CODE BEGIN USART1_Init 2 */
  LL_USART_ClearFlag_RXNE(USART1);
  LL_USART_EnableIT_RXNE(USART1);
#endif
  /* USER CODE END USART1_Init 2 */

}

static void MX_USART3_UART_Init(void)
{

  LL_USART_InitTypeDef USART_InitStruct = {0};

  LL_GPIO_InitTypeDef GPIO_InitStruct = {0};

  /* Peripheral clock enable */
  LL_APB1_GRP1_EnableClock(LL_APB1_GRP1_PERIPH_USART3);

  LL_APB2_GRP1_EnableClock(LL_APB2_GRP1_PERIPH_GPIOB);
  /**USART3 GPIO Configuration
  PB10   ------> USART3_TX
  PB11   ------> USART3_RX
  */
  GPIO_InitStruct.Pin = LL_GPIO_PIN_10;
  GPIO_InitStruct.Mode = LL_GPIO_MODE_ALTERNATE;
  GPIO_InitStruct.Speed = LL_GPIO_SPEED_FREQ_HIGH;
  GPIO_InitStruct.OutputType = LL_GPIO_OUTPUT_PUSHPULL;
  LL_GPIO_Init(GPIOB, &GPIO_InitStruct);

  GPIO_InitStruct.Pin = LL_GPIO_PIN_11;
  GPIO_InitStruct.Mode = LL_GPIO_MODE_FLOATING;
  LL_GPIO_Init(GPIOB, &GPIO_InitStruct);

  /* USART3 interrupt Init */
  NVIC_SetPriority(USART3_IRQn, NVIC_EncodePriority(NVIC_GetPriorityGrouping(),2, 0));
  NVIC_EnableIRQ(USART3_IRQn);

  USART_InitStruct.BaudRate = 115200;
  USART_InitStruct.DataWidth = LL_USART_DATAWIDTH_8B;
  USART_InitStruct.StopBits = LL_USART_STOPBITS_1;
  USART_InitStruct.Parity = LL_USART_PARITY_NONE;
  USART_InitStruct.TransferDirection = LL_USART_DIRECTION_TX_RX;
  USART_InitStruct.HardwareFlowControl = LL_USART_HWCONTROL_NONE;
  USART_InitStruct.OverSampling = LL_USART_OVERSAMPLING_16;
  LL_USART_Init(USART3, &USART_InitStruct);
  LL_USART_ConfigAsyncMode(USART3);
  LL_USART_Enable(USART3);
  /* USER CODE BEGIN USART3_Init 2 */
  LL_USART_ClearFlag_RXNE(USART3);
  LL_USART_EnableIT_RXNE(USART3);
  /* USER CODE END USART3_Init 2 */

}

static void MX_GPIO_Init(void)
{
  LL_GPIO_InitTypeDef GPIO_InitStruct = {0};

  /* GPIO Ports Clock Enable */
  LL_APB2_GRP1_EnableClock(LL_APB2_GRP1_PERIPH_GPIOD);
  LL_APB2_GRP1_EnableClock(LL_APB2_GRP1_PERIPH_GPIOC);
  LL_APB2_GRP1_EnableClock(LL_APB2_GRP1_PERIPH_GPIOA);
  LL_APB2_GRP1_EnableClock(LL_APB2_GRP1_PERIPH_GPIOB);

  /**/
  LL_GPIO_ResetOutputPin(GPIOC, GPIO_Output____HC05_EN_Pin|GPIO_Output____SSD1283_CS_Pin|GPIO_Output____SSD1283_DC_Pin);

  /**/
  LL_GPIO_ResetOutputPin(GPIOB, GPIO_Output____SSD1283_RST_Pin|GPIO_Output____Z_AxisStepperSTEP_Pin|GPIO_Output____Z_AxisStepperDIR_Pin|GPIO_Output____AL_AxisStepperSTEP_Pin
                          |GPIO_Output____AL_AxisStepperDIR_Pin);

  /**/
  GPIO_InitStruct.Pin = GPIO_Input____DF_Player_Mini_Busy_Pin;
  GPIO_InitStruct.Mode = LL_GPIO_MODE_FLOATING;
  LL_GPIO_Init(GPIO_Input____DF_Player_Mini_Busy_GPIO_Port, &GPIO_InitStruct);

  /**/
  GPIO_InitStruct.Pin = GPIO_Output____HC05_EN_Pin|GPIO_Output____SSD1283_CS_Pin|GPIO_Output____SSD1283_DC_Pin;
  GPIO_InitStruct.Mode = LL_GPIO_MODE_OUTPUT;
  GPIO_InitStruct.Speed = LL_GPIO_SPEED_FREQ_LOW;
  GPIO_InitStruct.OutputType = LL_GPIO_OUTPUT_PUSHPULL;
  LL_GPIO_Init(GPIOC, &GPIO_InitStruct);

  /**/
  GPIO_InitStruct.Pin = GPIO_Input____Z_AxisLimitSensor_Pin;
  GPIO_InitStruct.Mode = LL_GPIO_MODE_INPUT;
  GPIO_InitStruct.Pull = LL_GPIO_PULL_UP;
  LL_GPIO_Init(GPIO_Input____Z_AxisLimitSensor_GPIO_Port, &GPIO_InitStruct);

  /**/
  GPIO_InitStruct.Pin = GPIO_Output____SSD1283_RST_Pin|GPIO_Output____Z_AxisStepperSTEP_Pin|GPIO_Output____Z_AxisStepperDIR_Pin|GPIO_Output____AL_AxisStepperSTEP_Pin
                          |GPIO_Output____AL_AxisStepperDIR_Pin;
  GPIO_InitStruct.Mode = LL_GPIO_MODE_OUTPUT;
  GPIO_InitStruct.Speed = LL_GPIO_SPEED_FREQ_LOW;
  GPIO_InitStruct.OutputType = LL_GPIO_OUTPUT_PUSHPULL;
  LL_GPIO_Init(GPIOB, &GPIO_InitStruct);

}

void Error_Handler(void)
{
}

/************************ (C) COPYRIGHT STMicroelectronics *****END OF FILE****/
